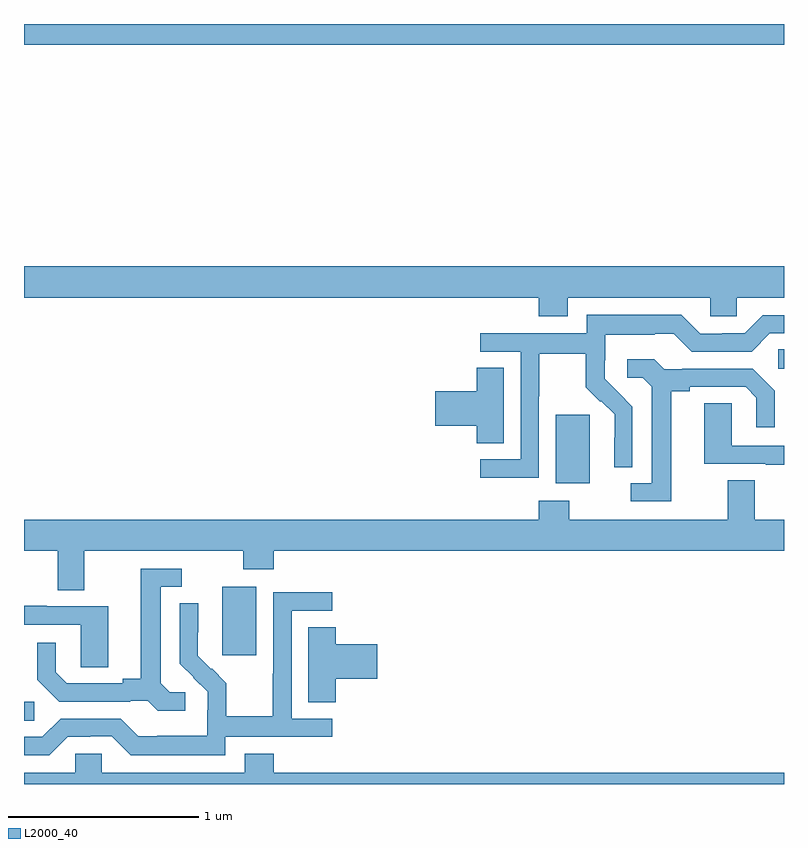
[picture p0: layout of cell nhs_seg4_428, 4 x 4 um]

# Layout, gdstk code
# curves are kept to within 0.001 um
import gdstk
lib = gdstk.Library(unit=1e-6, precision=1e-09)
def R(c, l, rs):  # rectangles x0, y0, x1, y1
    for r in rs: c.add(gdstk.rectangle(r[:2], r[2:], *l))
def P(c, l, *ps):  # polygons
    for p in ps: c.add(gdstk.Polygon(p, *l))
L2000_40 = (2000, 40)

nhs_seg4_428 = lib.new_cell('nhs_seg4_428')
R(nhs_seg4_428, L2000_40, [(131,821.233,131.053,821.334), (132.044,821.577,132.223,821.938), (133.799,822.482,133.978,822.843), (134.97,823.086,135,823.187), (131,824.792,135,824.9)])
P(nhs_seg4_428, L2000_40, [(133.861,823.46),(134.613,823.46),(134.613,823.362),(134.751,823.362),(134.751,823.46),(135,823.46),(135,823.624),(131,823.624),(131,823.46),(133.709,823.46),(133.709,823.361),(133.861,823.361)],
  [(133.71,822.94),(133.713,822.94),(133.713,823.164),(133.957,823.164),(133.957,822.989),(134.034,822.912),(134.037,822.915),(134.108,822.845),(134.108,822.722),(134.106,822.722),(134.106,822.568),(134.202,822.568),(134.202,822.886),(134.056,823.034),(134.056,823.131),(134.058,823.131),(134.058,823.265),(134.321,823.265),(134.321,823.269),(134.421,823.269),(134.514,823.176),(134.829,823.176),(134.925,823.272),(135,823.272),(135,823.368),(134.889,823.368),(134.793,823.272),(134.675,823.272),(134.675,823.269),(134.559,823.269),(134.459,823.369),(133.962,823.369),(133.962,823.272),(133.401,823.272),(133.401,823.176),(133.614,823.176),(133.614,822.609),(133.401,822.609),(133.401,822.511),(133.71,822.511)],
  [(134.407,822.968),(134.503,822.968),(134.503,822.99),(134.798,822.99),(134.855,822.933),(134.855,822.777),(134.952,822.777),(134.952,822.97),(134.836,823.086),(134.464,823.086),(134.464,823.083),(134.37,823.083),(134.318,823.135),(134.175,823.135),(134.175,823.038),(134.256,823.038),(134.303,822.991),(134.303,822.483),(134.193,822.483),(134.193,822.387),(134.407,822.387)],
  [(133.525,823.091),(133.382,823.091),(133.382,822.968),(133.164,822.968),(133.164,822.785),(133.382,822.785),(133.382,822.694),(133.525,822.694)],
  [(135,822.681),(134.724,822.681),(134.724,822.905),(134.579,822.905),(134.579,822.585),(134.903,822.585),(134.903,822.581),(135,822.581)],
  [(131.317,822.128),(132.154,822.128),(132.154,822.029),(132.314,822.029),(132.314,822.128),(135,822.128),(135,822.292),(134.845,822.292),(134.845,822.5),(134.705,822.5),(134.705,822.292),(133.869,822.292),(133.869,822.391),(133.709,822.391),(133.709,822.292),(131,822.292),(131,822.128),(131.177,822.128),(131.177,821.92),(131.317,821.92)],
  [(131.848,821.382),(131.766,821.382),(131.719,821.429),(131.719,821.937),(131.83,821.937),(131.83,822.033),(131.615,822.033),(131.615,821.453),(131.519,821.453),(131.519,821.43),(131.224,821.43),(131.167,821.487),(131.167,821.644),(131.07,821.644),(131.07,821.45),(131.186,821.334),(131.558,821.334),(131.558,821.337),(131.652,821.337),(131.704,821.285),(131.848,821.285)],
  [(132.06,821.148),(132.622,821.148),(132.622,821.244),(132.408,821.244),(132.408,821.811),(132.622,821.811),(132.622,821.91),(132.312,821.91),(132.312,821.48),(132.31,821.48),(132.31,821.257),(132.065,821.257),(132.065,821.431),(131.988,821.508),(131.985,821.505),(131.915,821.576),(131.916,821.852),(131.82,821.852),(131.82,821.534),(131.966,821.386),(131.966,821.289),(131.964,821.289),(131.964,821.155),(131.701,821.155),(131.701,821.151),(131.601,821.151),(131.508,821.244),(131.193,821.244),(131.097,821.148),(131,821.148),(131,821.052),(131.133,821.052),(131.229,821.148),(131.348,821.148),(131.348,821.151),(131.463,821.151),(131.563,821.051),(132.06,821.051)],
  [(131.443,821.835),(131.119,821.835),(131.119,821.839),(131,821.839),(131,821.739),(131.298,821.739),(131.298,821.515),(131.443,821.515)],
  [(132.641,821.453),(132.859,821.453),(132.859,821.636),(132.641,821.636),(132.641,821.726),(132.497,821.726),(132.497,821.329),(132.641,821.329)],
  [(135,820.96),(132.314,820.96),(132.314,821.059),(132.161,821.059),(132.161,820.96),(131.409,820.96),(131.409,821.058),(131.271,821.058),(131.271,820.96),(131,820.96),(131,820.9),(135,820.9)])

lib.write_gds('nhs_seg4_428.gds')
